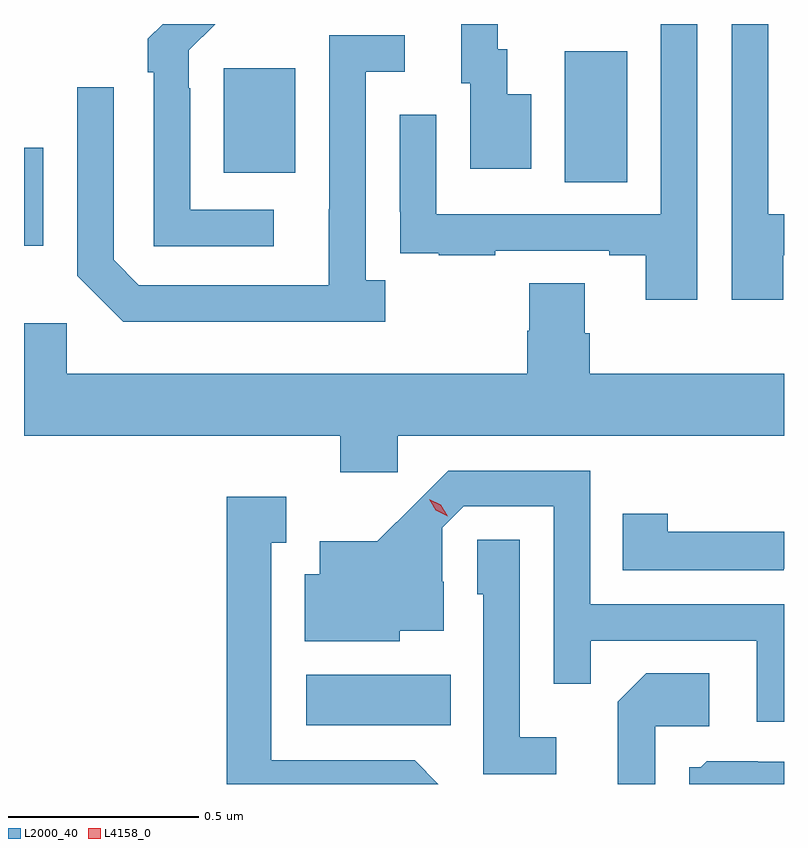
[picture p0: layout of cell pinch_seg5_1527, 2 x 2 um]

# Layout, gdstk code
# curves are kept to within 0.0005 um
import gdstk
lib = gdstk.Library(unit=1e-6, precision=1e-09)
def R(c, l, rs):  # rectangles x0, y0, x1, y1
    for r in rs: c.add(gdstk.rectangle(r[:2], r[2:], *l))
def P(c, l, *ps):  # polygons
    for p in ps: c.add(gdstk.Polygon(p, *l))
L2000_40 = (2000, 40)
L4158_0 = (4158, 0)

pinch_seg5_1527 = lib.new_cell('pinch_seg5_1527')
R(pinch_seg5_1527, L2000_40, [(142.26,891.962,142.64,892.096), (141.517,893.225,141.568,893.482), (142.94,893.392,143.104,893.736), (142.043,893.417,142.231,893.692)])
P(pinch_seg5_1527, L2000_40, [(142.852,893.623),(142.789,893.623),(142.789,893.742),(142.764,893.742),(142.764,893.808),(142.667,893.808),(142.667,893.652),(142.691,893.652),(142.691,893.427),(142.852,893.427)],
  [(142.174,893.319),(141.954,893.319),(141.954,893.639),(141.951,893.639),(141.951,893.739),(142.02,893.808),(141.882,893.808),(141.843,893.769),(141.843,893.681),(141.858,893.681),(141.858,893.223),(142.174,893.223)],
  [(143.515,893.199),(143.517,893.199),(143.517,893.307),(143.475,893.307),(143.475,893.808),(143.379,893.808),(143.379,893.082),(143.515,893.082)],
  [(143.289,893.808),(143.193,893.808),(143.193,893.307),(142.602,893.307),(142.602,893.569),(142.506,893.569),(142.506,893.314),(142.507,893.314),(142.507,893.205),(142.609,893.205),(142.609,893.199),(142.757,893.199),(142.757,893.211),(143.057,893.211),(143.057,893.199),(143.153,893.199),(143.153,893.082),(143.289,893.082)],
  [(142.468,893.134),(142.416,893.134),(142.416,893.682),(142.519,893.682),(142.519,893.778),(142.32,893.778),(142.32,893.321),(142.319,893.321),(142.319,893.121),(141.819,893.121),(141.753,893.187),(141.753,893.641),(141.657,893.641),(141.657,893.145),(141.778,893.024),(142.468,893.024)],
  [(142.5,892.724),(143.517,892.724),(143.517,892.888),(143.006,892.888),(143.006,892.994),(142.993,892.994),(142.993,893.126),(142.846,893.126),(142.846,893.001),(142.841,893.001),(142.841,892.888),(141.63,892.888),(141.63,893.02),(141.517,893.02),(141.517,892.724),(142.349,892.724),(142.349,892.629),(142.5,892.629)],
  [(143.517,892.281),(143.007,892.281),(143.007,892.632),(142.634,892.632),(142.447,892.447),(142.295,892.447),(142.295,892.36),(142.256,892.36),(142.256,892.184),(142.506,892.184),(142.506,892.211),(142.621,892.211),(142.621,892.34),(142.617,892.34),(142.617,892.482),(142.674,892.539),(142.911,892.539),(142.911,892.072),(143.009,892.072),(143.009,892.185),(143.445,892.185),(143.445,891.972),(143.517,891.972)],
  [(142.545,891.87),(142.168,891.87),(142.168,892.443),(142.207,892.443),(142.207,892.564),(142.05,892.564),(142.05,891.808),(142.607,891.808)],
  [(143.516,892.374),(143.517,892.374),(143.517,892.472),(143.211,892.472),(143.211,892.519),(143.092,892.519),(143.092,892.371),(143.516,892.371)],
  [(142.918,891.931),(142.821,891.931),(142.821,892.451),(142.71,892.451),(142.71,892.308),(142.725,892.308),(142.725,891.834),(142.918,891.834)],
  [(143.178,891.96),(143.32,891.96),(143.32,892.1),(143.155,892.1),(143.079,892.024),(143.079,891.808),(143.178,891.808)],
  [(143.517,891.867),(143.448,891.867),(143.448,891.868),(143.314,891.868),(143.298,891.852),(143.267,891.852),(143.267,891.808),(143.517,891.808)])
P(pinch_seg5_1527, L4158_0, [(142.632,892.513),(142.601,892.528),(142.583,892.558),(142.583,892.558),(142.584,892.558),(142.614,892.543),(142.632,892.513),(142.632,892.513)])

lib.write_gds('pinch_seg5_1527.gds')
